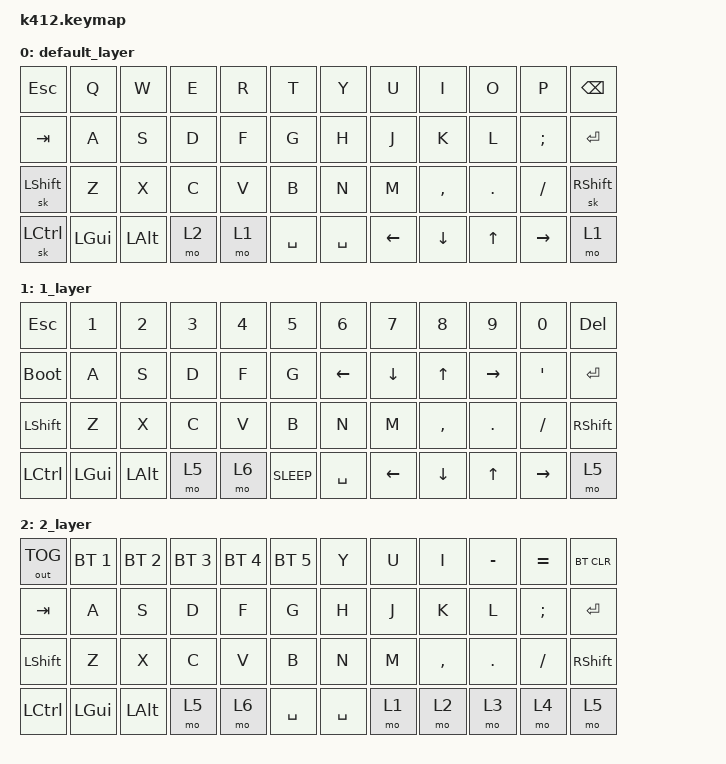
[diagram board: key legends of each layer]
// This file was generated from a template. Edit it to match your keyboard.
// See https://zmk.dev/docs/development/hardware-integration/new-shield for more instructions.

#include <behaviors.dtsi>
#include <dt-bindings/zmk/keys.h>
#define ZMK_POINTING_DEFAULT_MOVE_VAL 1500  // default: 600
#define ZMK_POINTING_DEFAULT_SCRL_VAL 20    // default: 10
#include <dt-bindings/zmk/pointing.h>
#include <dt-bindings/zmk/ext_power.h>  //External Power Control Command
#include <dt-bindings/zmk/bt.h>
#include <dt-bindings/zmk/outputs.h>



/ {
    // Define a default keymap here.
    // See https://zmk.dev/docs/development/hardware-integration/new-shield#default-keymap.
    keymap {
        compatible = "zmk,keymap";

        default_layer {
            bindings = <
// -----------------------------------------------------------------------------------------
// |  ESC  |  Q  |  W  |  E   |  R   |  T   |  Y   |  U    |  I    |  O   |   P   |   \  |
// |  TAB  |  A  |  S  |  D   |  F   |  G   |  H   |  J    |  K    |  L   |   ;   |RETURN|
// | SHIFT |  Z  |  X  |  C   |  V   |  B   |  N   |  M    |  ,    |  .   |   /   | SHIFT|
    &kp ESC &kp Q &kp W &kp E &kp R &kp T &kp Y &kp U &kp I &kp O &kp P &kp BSPC
    &kp TAB  &kp A &kp S &kp D &kp F &kp G &kp H &kp J &kp K &kp L &kp SEMI &kp RET
    &sk LSHFT &kp Z &kp X &kp C &kp V &kp B  &kp N &kp M  &kp COMMA &kp DOT &kp FSLH &sk RSHFT
    &sk LCTL &kp LGUI &kp LALT &mo 2 &mo 1 &kp SPACE  &kp SPACE &kp LEFT &kp DOWN &kp UP &kp RIGHT &mo 1
            >;
        };
        1_layer {
            bindings = <
// -----------------------------------------------------------------------------------------
// | ESC |  1  |  2  |  3   |  4   |  5   |  6  |  7  |  8   |  9  |   0   | Del |
// | UF2 |  A  |  S  |  D   |  F   |  G   |  H  |  J  |  K   | L   |  '  |RETURN|
// | SHIFT |  Z |  X |  C   |  V   |  B   |  N  |  M  |  ,   |  .  |   / | SHIFT|
// | GUI  | DEL  | RET  |  SPACE  |   ESC  |  |   RET   |  SPACE  | TAB  | BSPC  | R-ALT |
    &kp ESC &kp N1 &kp N2 &kp N3 &kp N4 &kp N5 &kp N6 &kp N7 &kp N8 &kp N9 &kp N0 &kp DEL
    &bootloader  &kp A &kp S &kp D &kp F &kp G &kp LEFT &kp DOWN &kp UP &kp RIGHT &kp SQT &kp RET
    &kp LSHFT &kp Z &kp X &kp C &kp V &kp B  &kp N &kp M  &kp COMMA &kp DOT &kp FSLH &kp RSHFT
    &kp LCTL &kp LGUI &kp LALT &mo 5  &mo 6 &kp K_SLEEP  &kp SPACE  &kp LEFT &kp DOWN &kp UP &kp RIGHT &mo 5  
            >;
        };
        2_layer {
            bindings = <
// -----------------------------------------------------------------------------------------
// |outtog | bt1 | bt2 | bt3  |  R   |  T   |  Y   |  U    |  I    | minus|  equal|btclear|
// |  TAB  |  A  |  S  |  D   |  F   |  G   |  H   |  J    |  K    |  L   |   ;   |RETURN|
// | SHIFT |  Z  |  X  |  C   |  V   |  B   |  N   |  M    |  ,    |  .   |   /   | SHIFT|
// | GUI  | DEL  | RET  |  SPACE  |   ESC  |  |   RET   |  SPACE  | TAB  | BSPC  | R-ALT |
    &out OUT_TOG &bt BT_SEL 1 &bt BT_SEL 2 &bt BT_SEL 3 &bt BT_SEL 4 &bt BT_SEL 5 &kp Y &kp U &kp I &kp MINUS &kp EQUAL &bt BT_CLR
    &kp TAB  &kp A &kp S &kp D &kp F &kp G &kp H &kp J &kp K &kp L &kp SEMI &kp RET
    &kp LSHFT &kp Z &kp X &kp C &kp V &kp B  &kp N &kp M  &kp COMMA &kp DOT &kp FSLH &kp RSHFT
    &kp LCTL &kp LGUI &kp LALT &mo 5  &mo 6 &kp SPACE  &kp SPACE  &mo 1 &mo 2 &mo 3 &mo 4 &mo 5  
            >;
        };
    };
};
